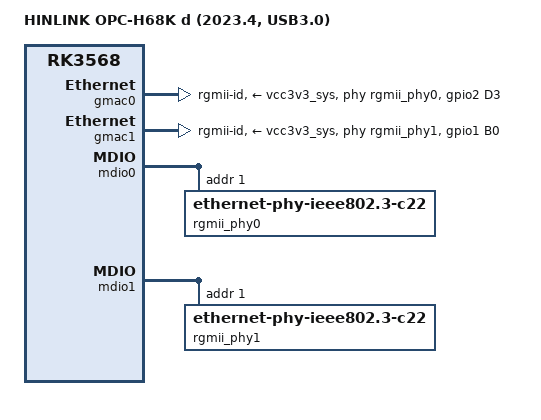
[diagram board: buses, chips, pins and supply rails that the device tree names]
// SPDX-License-Identifier: (GPL-2.0+ OR MIT)
/*
 * HinLink OPC-H68K D
 *
 * HinLink 适配for immortalwrt —— 每机型独立 DTS，不做自适应。
 *
 * 硬件事实来源：厂商 2023 R23.4.20 固件 dtb（已解包反编译逐项核对）
 * 蓝本：OpenWrt 主线 rk3568-hinlink-h68k.dts
 *
 * 2023.4 推荐版：2×RTL8125 2.5G，WAN 从 eth1 改为 eth0（网口全识别）
 */

/dts-v1/;

#include "rk3568-hinlink-opc.dtsi"

/ {
	model = "HINLINK OPC-H68K d (2023.4, USB3.0)";
	compatible = "hinlink,opc-h68k-d-usb", "hinlink,h68k", "linkstar,h68k", "rockchip,rk3568";

	aliases {
		ethernet0 = &gmac0;
		ethernet1 = &gmac1;
	};
};
&gmac0 {
	assigned-clocks = <&cru SCLK_GMAC0_RX_TX>, <&cru SCLK_GMAC0>;
	assigned-clock-parents = <&cru SCLK_GMAC0_RGMII_SPEED>;
	assigned-clock-rates = <0>, <125000000>;
	clock_in_out = "output";
	phy-mode = "rgmii-id";
	phy-supply = <&vcc3v3_sys>;
	pinctrl-names = "default";
	pinctrl-0 = <&gmac0_miim
		     &gmac0_tx_bus2
		     &gmac0_rx_bus2
		     &gmac0_rgmii_clk
		     &gmac0_rgmii_bus
		     &gmac0_rstn>;
	snps,reset-gpios = <&gpio2 RK_PD3 GPIO_ACTIVE_LOW>;
	snps,reset-active-low;
	snps,reset-delays-us = <0 20000 100000>;
	tx_delay = <0x3c>;
	rx_delay = <0x2f>;
	phy-handle = <&rgmii_phy0>;
	status = "okay";
};

&gmac1 {
	assigned-clocks = <&cru SCLK_GMAC1_RX_TX>, <&cru SCLK_GMAC1>;
	assigned-clock-parents = <&cru SCLK_GMAC1_RGMII_SPEED>;
	assigned-clock-rates = <0>, <125000000>;
	clock_in_out = "output";
	phy-mode = "rgmii-id";
	phy-supply = <&vcc3v3_sys>;
	pinctrl-names = "default";
	pinctrl-0 = <&gmac1m1_miim
		     &gmac1m1_tx_bus2
		     &gmac1m1_rx_bus2
		     &gmac1m1_rgmii_clk
		     &gmac1m1_rgmii_bus
		     &gmac1_rstn>;
	snps,reset-gpios = <&gpio1 RK_PB0 GPIO_ACTIVE_LOW>;
	snps,reset-active-low;
	snps,reset-delays-us = <0 20000 100000>;
	tx_delay = <0x4f>;
	rx_delay = <0x26>;
	phy-handle = <&rgmii_phy1>;
	status = "okay";
};

&mdio0 {
	rgmii_phy0: ethernet-phy@1 {
		compatible = "ethernet-phy-ieee802.3-c22";
		reg = <0x1>;
	};
};

&mdio1 {
	rgmii_phy1: ethernet-phy@1 {
		compatible = "ethernet-phy-ieee802.3-c22";
		reg = <0x1>;
	};
};

&pinctrl {
	gmac {
		gmac0_rstn: gmac0-rstn {
			rockchip,pins = <2 RK_PD3 RK_FUNC_GPIO &pcfg_pull_none>;
		};

		gmac1_rstn: gmac1-rstn {
			rockchip,pins = <1 RK_PB0 RK_FUNC_GPIO &pcfg_pull_none>;
		};
	};
};

/* ============================================================
 * USB3.0 变体（默认）：combphy0 让给 USB3.0
 *
 * ★ RK3568 硬件复用关系（rk3568.dtsi 实证）：
 *     sata0    phys = <&combphy0 PHY_TYPE_SATA>   (phy@fe820000)
 *     USB3.0   也需要 combphy0 作 PHY_TYPE_USB3
 *   combphy 同一时刻只能是一种 PHY_TYPE ⇒ SATA 与 USB3.0 **二选一**。
 *
 * 本变体禁用 sata0，combphy0 供 USB3.0 使用。
 * 需要 SATA 的机器请用同名 -sata.dts 变体。
 *
 * ★ 该复用只存在于 2022-2023 老机器（68k 的 a-b / c / c-usb3 / d）。
 *   新机 h68k-new 与 h69k 系不涉及此复用，两者可同时使用。
 * ============================================================ */

&sata0 {
	status = "disabled";
};
